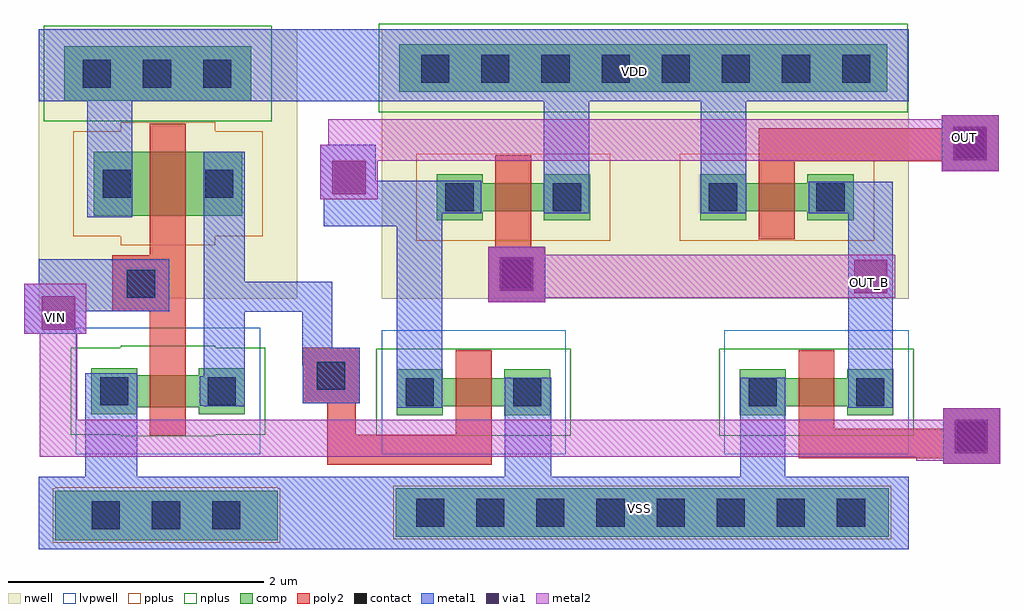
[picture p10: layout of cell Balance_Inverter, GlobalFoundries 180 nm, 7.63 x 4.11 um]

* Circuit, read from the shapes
.subckt Balance_Inverter OUT OUT_B VDD VIN VSS
XM1 Inverter_4/OUT VIN VSS VSS nfet_03v3 w=0.25u l=0.28u
XM2 VSS Inverter_4/OUT OUT VSS nfet_03v3 w=0.22u l=0.28u
XM3 OUT_B VIN VSS VSS nfet_03v3 w=0.22u l=0.28u
XM4 Inverter_4/OUT VIN VDD VDD pfet_03v3 w=0.5u l=0.28u
XM5 VDD OUT_B OUT VDD pfet_03v3 w=0.22u l=0.28u
XM6 OUT_B OUT VDD VDD pfet_03v3 w=0.22u l=0.28u
.ends

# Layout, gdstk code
import gdstk
lib = gdstk.Library(unit=1e-6, precision=1e-09)
def R(c, l, rs):  # rectangles x0, y0, x1, y1
    for r in rs: c.add(gdstk.rectangle(r[:2], r[2:], *l))
def A(c, l, x, y, w, h, nx, ny, dx, dy):  # array of equal rectangles
    R(c, l, [(x+i*dx, y+j*dy, x+i*dx+w, y+j*dy+h) for i in range(nx) for j in range(ny)])
nwell = (21, 0)
comp = (22, 0)
poly2 = (30, 0)
pplus = (31, 0)
nplus = (32, 0)
contact = (33, 0)
metal1 = (34, 0)
via1 = (35, 0)
metal2 = (36, 0)
lvpwell = (204, 0)

pmos_3p3_m8ltng = lib.new_cell('pmos_3p3_M8LTNG')
R(pmos_3p3_m8ltng, nwell, [(-1.03,-0.795,1.03,0.795)])
R(pmos_3p3_m8ltng, comp, [(-0.6,-0.18,-0.24,-0.11), (0.24,-0.18,0.6,-0.11), (-0.6,-0.11,0.6,0.11), (-0.6,0.11,-0.24,0.18), (0.24,0.11,0.6,0.18)])
R(pmos_3p3_m8ltng, poly2, [(-0.14,-0.33,0.14,0.33)])
R(pmos_3p3_m8ltng, pplus, [(-0.76,-0.34,0.76,0.34)])
R(pmos_3p3_m8ltng, contact, [(-0.53,-0.11,-0.31,0.11), (0.31,-0.11,0.53,0.11)])
R(pmos_3p3_m8ltng, metal1, [(-0.59,-0.115,-0.25,0.115), (0.25,-0.115,0.59,0.115)])

nmos_3p3_ddnvwa = lib.new_cell('nmos_3p3_DDNVWA')
R(nmos_3p3_ddnvwa, comp, [(-0.6,-0.18,-0.24,-0.11), (0.24,-0.18,0.6,-0.11), (-0.6,-0.11,0.6,0.11), (-0.6,0.11,-0.24,0.18), (0.24,0.11,0.6,0.18)])
R(nmos_3p3_ddnvwa, poly2, [(-0.14,-0.33,0.14,0.33)])
R(nmos_3p3_ddnvwa, nplus, [(-0.76,-0.34,0.76,0.34)])
R(nmos_3p3_ddnvwa, contact, [(-0.53,-0.11,-0.31,0.11), (0.31,-0.11,0.53,0.11)])
R(nmos_3p3_ddnvwa, metal1, [(-0.59,-0.115,-0.25,0.115), (0.25,-0.115,0.59,0.115)])
R(nmos_3p3_ddnvwa, lvpwell, [(-0.72,-0.485,0.72,0.485)])

pmos_3p3_m8rwps = lib.new_cell('pmos_3p3_M8RWPS')
R(pmos_3p3_m8rwps, nwell, [(-1.01,-0.9,1.01,0.9)])
R(pmos_3p3_m8rwps, comp, [(-0.58,-0.25,0.58,0.25)])
R(pmos_3p3_m8rwps, poly2, [(-0.14,-0.47,0.14,0.47)])
R(pmos_3p3_m8rwps, pplus, [(-0.37,-0.48,0.37,-0.41), (-0.74,-0.41,0.74,0.41), (-0.37,0.41,0.37,0.48)])
R(pmos_3p3_m8rwps, contact, [(-0.51,-0.11,-0.29,0.11), (0.29,-0.11,0.51,0.11)])
R(pmos_3p3_m8rwps, metal1, [(-0.515,-0.24,-0.285,0.24), (0.285,-0.24,0.515,0.24)])

nmos_3p3_h9qvwa = lib.new_cell('nmos_3p3_H9QVWA')
R(nmos_3p3_h9qvwa, comp, [(-0.6,-0.18,-0.24,-0.125), (0.24,-0.18,0.6,-0.125), (-0.6,-0.125,0.6,0.125), (-0.6,0.125,-0.24,0.18), (0.24,0.125,0.6,0.18)])
R(nmos_3p3_h9qvwa, poly2, [(-0.14,-0.345,0.14,0.345)])
R(nmos_3p3_h9qvwa, nplus, [(-0.37,-0.355,0.37,-0.34), (-0.76,-0.34,0.76,0.34), (-0.37,0.34,0.37,0.355)])
R(nmos_3p3_h9qvwa, contact, [(-0.53,-0.11,-0.31,0.11), (0.31,-0.11,0.53,0.11)])
R(nmos_3p3_h9qvwa, metal1, [(-0.59,-0.115,-0.25,0.115), (0.25,-0.115,0.59,0.115)])
R(nmos_3p3_h9qvwa, lvpwell, [(-0.72,-0.495,0.72,0.495)])

inverter = lib.new_cell('Inverter')
R(inverter, nwell, [(-0.59,0.79,0.43,1.195), (0.005,1.195,0.43,1.225), (-0.21,1.525,0.14,2.43), (-0.59,2.43,1.43,2.995)])
R(inverter, comp, [(-0.46,-1,1.28,-0.615), (-0.39,2.435,1.07,2.86)])
R(inverter, poly2, [(0.28,0.51,0.56,0.79), (-0.015,0.79,0.56,1.225), (0.28,1.225,0.56,1.315)])
R(inverter, pplus, [(-0.48,-1.02,1.3,-0.595), (-0.46,-0.595,1.275,-0.585)])
R(inverter, nplus, [(-0.55,2.275,1.23,3.02)])
A(inverter, contact, -0.175, -0.915, 0.22, 0.22, 3, 1, 0.47, 0)
A(inverter, contact, -0.245, 2.535, 0.22, 0.22, 3, 1, 0.47, 0)
R(inverter, contact, [(0.1,0.895,0.32,1.115)])
R(inverter, metal1, [(-0.59,-1.07,1.43,-0.505), (-0.225,-0.505,0.18,0.305), (0.7,0.045,1.02,0.785), (0.7,0.785,1.43,1.02), (-0.59,0.79,0.43,1.195), (0.7,1.02,1.02,2.035), (-0.21,1.525,0.14,2.43), (-0.59,2.43,1.43,2.995)])
inverter.add(gdstk.Reference(pmos_3p3_m8rwps, (0.42,1.785)))
inverter.add(gdstk.Reference(nmos_3p3_h9qvwa, (0.42,0.165)))
inverter.add(gdstk.Label('VDD', (0.335,2.65), layer=22, texttype=0))
inverter.add(gdstk.Label('VSS', (0.405,-0.81), layer=22, texttype=0))
inverter.add(gdstk.Label('IN', (-0.475,0.995), layer=34, texttype=10))
inverter.add(gdstk.Label('OUT', (1.36,0.86), layer=34, texttype=10))

balance_inverter = lib.new_cell('Balance_Inverter')
R(balance_inverter, nwell, [(2.68,3.5,6.8,4.065)])
R(balance_inverter, comp, [(2.79,0.095,6.645,0.475), (2.82,3.575,6.635,3.945)])
R(balance_inverter, poly2, [(2.255,0.66,3.54,0.895), (7.07,0.665,7.515,0.71), (5.94,0.71,7.515,0.94), (2.255,0.895,2.48,1.14), (7.07,0.94,7.515,1.1), (2.065,1.14,2.51,1.575), (3.515,1.93,3.96,2.365), (3.57,2.365,3.85,2.42), (7.06,2.955,7.505,3.03), (5.63,3.03,7.505,3.29), (7.06,3.29,7.505,3.39)])
R(balance_inverter, pplus, [(2.77,0.075,6.665,0.495)])
R(balance_inverter, nplus, [(2.66,3.415,6.795,4.105)])
A(balance_inverter, contact, 2.95, 0.175, 0.22, 0.22, 8, 1, 0.47, 0)
A(balance_inverter, contact, 2.99, 3.645, 0.22, 0.22, 8, 1, 0.47, 0)
R(balance_inverter, contact, [(7.18,0.77,7.4,0.99), (2.175,1.245,2.395,1.465), (3.625,2.04,3.845,2.26), (7.17,3.06,7.39,3.28)])
R(balance_inverter, metal1, [(2.02,0,6.8,0.565), (3.645,0.565,4.005,1.34), (5.485,0.565,5.835,1.34), (7.07,0.665,7.515,1.1), (2.8,1.105,3.155,2.525), (6.33,1.105,6.675,2.625), (2.065,1.14,2.51,1.435), (2.06,1.435,2.51,1.575), (2.06,1.575,2.295,1.855), (-0.115,1.685,0.37,2.075), (1.785,1.855,2.295,2.09), (3.515,1.93,3.96,2.365), (2.23,2.525,3.155,2.625), (2.23,2.625,3.46,2.735), (3.95,2.625,4.305,3.5), (5.175,2.625,5.53,3.5), (6.02,2.625,6.675,2.87), (2.2,2.735,3.46,2.88), (2.2,2.88,2.635,3.16), (7.06,2.955,7.505,3.39), (2.02,3.5,6.8,4.065)])
R(balance_inverter, via1, [(7.16,0.75,7.42,1.01), (0.025,1.715,0.285,1.975), (6.375,2,6.635,2.26), (3.605,2.02,3.865,2.28), (2.295,2.775,2.555,3.035), (7.15,3.04,7.41,3.3)])
R(balance_inverter, metal2, [(7.07,0.665,7.515,0.69), (6.86,0.69,7.515,0.72), (0.01,0.72,7.515,1.01), (0.01,1.01,0.3,1.685), (7.07,1.01,7.515,1.1), (-0.115,1.685,0.37,2.075), (3.515,1.93,3.96,1.965), (3.515,1.965,6.695,2.3), (3.515,2.3,3.96,2.365), (2.2,2.735,2.65,3.035), (7.06,2.955,7.505,3.035), (2.2,3.035,7.505,3.16), (2.265,3.16,7.505,3.36), (7.06,3.36,7.505,3.39)])
balance_inverter.add(gdstk.Reference(pmos_3p3_m8ltng, (5.77,2.75)))
balance_inverter.add(gdstk.Reference(pmos_3p3_m8ltng, (3.71,2.75)))
balance_inverter.add(gdstk.Reference(nmos_3p3_ddnvwa, (6.08,1.225)))
balance_inverter.add(gdstk.Reference(nmos_3p3_ddnvwa, (3.4,1.225)))
balance_inverter.add(gdstk.Reference(inverter, (0.59,1.07)))
balance_inverter.add(gdstk.Label('VDD', (4.66,3.735), layer=22, texttype=0))
balance_inverter.add(gdstk.Label('VSS', (4.7,0.32), layer=22, texttype=0))
balance_inverter.add(gdstk.Label('OUT', (7.235,3.215), layer=34, texttype=10))
balance_inverter.add(gdstk.Label('OUT_B', (6.495,2.085), layer=34, texttype=10))
balance_inverter.add(gdstk.Label('VIN', (0.13,1.81), layer=34, texttype=10))

lib.write_gds('Balance_Inverter.gds')
